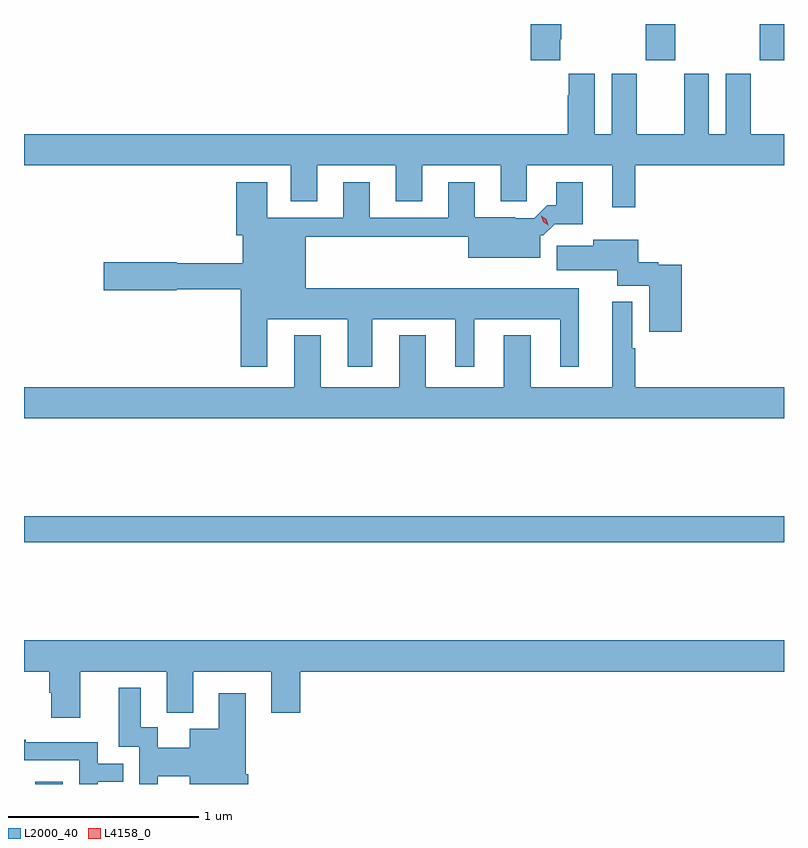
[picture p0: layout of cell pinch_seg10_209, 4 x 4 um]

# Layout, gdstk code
import gdstk
lib = gdstk.Library(unit=1e-6, precision=1e-09)
def R(c, l, rs):  # rectangles x0, y0, x1, y1
    for r in rs: c.add(gdstk.rectangle(r[:2], r[2:], *l))
def P(c, l, *ps):  # polygons
    for p in ps: c.add(gdstk.Polygon(p, *l))
L2000_40 = (2000, 40)
L4158_0 = (4158, 0)

pinch_seg10_209 = lib.new_cell('pinch_seg10_209')
R(pinch_seg10_209, L2000_40, [(842.073,1274.416,842.218,1274.428), (842.015,1275.688,846.015,1275.824), (845.287,1278.225,845.442,1278.416), (845.887,1278.225,846.015,1278.416)])
P(pinch_seg10_209, L2000_40, [(844.837,1278.337),(844.842,1278.337),(844.842,1278.416),(844.682,1278.416),(844.682,1278.225),(844.837,1278.225)],
  [(845.233,1277.672),(846.015,1277.672),(846.015,1277.836),(845.839,1277.836),(845.839,1278.154),(845.708,1278.154),(845.708,1277.836),(845.62,1277.836),(845.62,1278.154),(845.489,1278.154),(845.489,1277.836),(845.239,1277.836),(845.239,1278.154),(845.108,1278.154),(845.108,1277.836),(845.02,1277.836),(845.02,1278.154),(844.883,1278.154),(844.883,1278.041),(844.877,1278.041),(844.877,1277.836),(842.015,1277.836),(842.015,1277.672),(843.419,1277.672),(843.419,1277.482),(843.559,1277.482),(843.559,1277.672),(843.971,1277.672),(843.971,1277.482),(844.111,1277.482),(844.111,1277.672),(844.523,1277.672),(844.523,1277.483),(844.662,1277.483),(844.662,1277.672),(845.111,1277.672),(845.111,1277.451),(845.233,1277.451)],
  [(843.295,1276.862),(843.719,1276.862),(843.719,1276.611),(843.847,1276.611),(843.847,1276.862),(844.286,1276.862),(844.286,1276.611),(844.384,1276.611),(844.384,1276.862),(844.838,1276.862),(844.838,1276.611),(844.936,1276.611),(844.936,1277.026),(843.499,1277.026),(843.499,1277.296),(844.352,1277.296),(844.352,1277.186),(844.732,1277.186),(844.732,1277.304),(844.749,1277.304),(844.808,1277.363),(844.957,1277.363),(844.957,1277.584),(844.817,1277.584),(844.817,1277.461),(844.768,1277.461),(844.701,1277.394),(844.601,1277.394),(844.601,1277.398),(844.387,1277.398),(844.387,1277.584),(844.247,1277.584),(844.247,1277.397),(843.835,1277.397),(843.835,1277.584),(843.695,1277.584),(843.695,1277.397),(843.295,1277.397),(843.295,1277.584),(843.131,1277.584),(843.131,1277.304),(843.167,1277.304),(843.167,1277.156),(842.82,1277.156),(842.82,1277.162),(842.436,1277.162),(842.436,1277.015),(842.82,1277.015),(842.82,1277.02),(843.155,1277.02),(843.155,1276.611),(843.295,1276.611)],
  [(845.477,1277.149),(845.352,1277.149),(845.352,1277.162),(845.248,1277.162),(845.248,1277.281),(845.012,1277.281),(845.012,1277.249),(844.818,1277.249),(844.818,1277.12),(845.138,1277.12),(845.138,1277.039),(845.306,1277.039),(845.306,1276.797),(845.477,1276.797)],
  [(846.015,1276.504),(845.233,1276.504),(845.233,1276.709),(845.215,1276.709),(845.215,1276.954),(845.111,1276.954),(845.111,1276.504),(844.681,1276.504),(844.681,1276.777),(844.541,1276.777),(844.541,1276.504),(844.129,1276.504),(844.129,1276.777),(843.989,1276.777),(843.989,1276.504),(843.577,1276.504),(843.577,1276.777),(843.437,1276.777),(843.437,1276.504),(842.015,1276.504),(842.015,1276.34),(846.015,1276.34)],
  [(842.015,1275.008),(842.147,1275.008),(842.147,1274.895),(842.159,1274.895),(842.159,1274.766),(842.311,1274.766),(842.311,1275.008),(842.765,1275.008),(842.765,1274.792),(842.905,1274.792),(842.905,1275.008),(843.317,1275.008),(843.317,1274.79),(843.47,1274.79),(843.47,1275.008),(846.015,1275.008),(846.015,1275.172),(842.015,1275.172)],
  [(842.718,1274.456),(842.888,1274.456),(842.888,1274.416),(843.194,1274.416),(843.194,1274.467),(843.181,1274.467),(843.181,1274.893),(843.041,1274.893),(843.041,1274.707),(842.888,1274.707),(842.888,1274.608),(842.719,1274.608),(842.719,1274.714),(842.629,1274.714),(842.629,1274.923),(842.513,1274.923),(842.513,1274.613),(842.622,1274.613),(842.622,1274.416),(842.718,1274.416)],
  [(842.403,1274.427),(842.537,1274.427),(842.537,1274.523),(842.403,1274.523),(842.403,1274.637),(842.023,1274.637),(842.023,1274.65),(842.015,1274.65),(842.015,1274.541),(842.307,1274.541),(842.307,1274.416),(842.403,1274.416)])
P(pinch_seg10_209, L4158_0, [(844.773,1277.357),(844.748,1277.376),(844.738,1277.407),(844.738,1277.407),(844.738,1277.407),(844.764,1277.388),(844.774,1277.358),(844.774,1277.357)])

lib.write_gds('pinch_seg10_209.gds')
